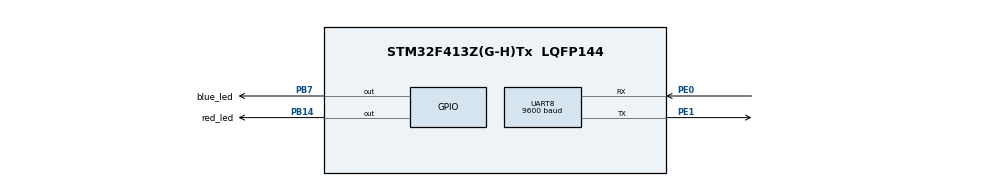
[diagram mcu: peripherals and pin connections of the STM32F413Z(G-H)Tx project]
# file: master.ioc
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Mcu.Family=STM32F4
Mcu.Name=STM32F413Z(G-H)Tx
Mcu.Package=LQFP144
NVIC.PriorityGroup=NVIC_PRIORITYGROUP_4
NVIC.UART8_IRQn=true\:0\:0\:false\:false\:true\:true\:true
PA13.Mode=Serial_Wire
PA13.Signal=SYS_JTMS-SWDIO
PA14.Mode=Serial_Wire
PA14.Signal=SYS_JTCK-SWCLK
PB14.GPIO_Label=red_led
PB14.Signal=GPIO_Output
PB7.GPIO_Label=blue_led
PB7.Signal=GPIO_Output
PC14-OSC32_IN.Mode=LSE-External-Oscillator
PC14-OSC32_IN.Signal=RCC_OSC32_IN
PC15-OSC32_OUT.Mode=LSE-External-Oscillator
PC15-OSC32_OUT.Signal=RCC_OSC32_OUT
PE0.Mode=Asynchronous
PE0.Signal=UART8_RX
PE1.Mode=Asynchronous
PE1.Signal=UART8_TX
ProjectManager.HeapSize=0x200
ProjectManager.StackSize=0x400
ProjectManager.TargetToolchain=STM32CubeIDE
RCC.CortexFreq_Value=16000000
RCC.USBFreq_Value=96000000
RCC.VCOOutputFreq_Value=192000000
UART8.BaudRate=9600
UART8.VirtualMode=Asynchronous
board=custom

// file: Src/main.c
/* USER CODE BEGIN Header */
/**
  ******************************************************************************
  * @file           : main.c
  * @brief          : Main program body
  ******************************************************************************
  * @attention
  *
  * <h2><center>&copy; Copyright (c) 2019 STMicroelectronics.
  * All rights reserved.</center></h2>
  *
  * This software component is licensed by ST under BSD 3-Clause license,
  * the "License"; You may not use this file except in compliance with the
  * License. You may obtain a copy of the License at:
  *                        opensource.org/licenses/BSD-3-Clause
  *
  ******************************************************************************
  */
/* USER CODE END Header */

#include "main.h"
#include "string.h"

UART_HandleTypeDef huart8;

void SystemClock_Config(void);
static void MX_GPIO_Init(void);
static void MX_UART8_Init(void);

/* USER CODE BEGIN 0 */
uint32_t ticker = 0;

typedef struct  __attribute__ ((packed)) data_packet_t{
    int board_type : 4;
    int board_num : 4;
    uint8_t board_add;
    uint8_t state;
} data_packet;

union data_in{
	data_packet info_in;
	char info_in_buffer[3];
};

data_packet info_out;
union data_in data;

void HAL_UART_RxCpltCallback(UART_HandleTypeDef *huart)
{
	if(huart->Instance==UART8) {
		info_out.board_add  =  data.info_in.board_add;
		info_out.state  = data.info_in.state;
		info_out.board_type = data.info_in.board_type;
		info_out.board_num = data.info_in.board_num;
		HAL_UART_Transmit(&huart8,&info_out,sizeof(info_out),1000);
		HAL_GPIO_TogglePin(GPIOB, red_led_Pin);
	}
	else{
		__NOP();
	}

}
/* USER CODE END 0 */

int main(void)
{

  /* MCU Configuration--------------------------------------------------------*/

  /* Reset of all peripherals, Initializes the Flash interface and the Systick. */
  HAL_Init();

  /* Configure the system clock */
  SystemClock_Config();

  /* Initialize all configured peripherals */
  MX_GPIO_Init();
  MX_UART8_Init();
  /* USER CODE BEGIN 2 */
  char buffer[3];

  /* USER CODE END 2 */

  /* Infinite loop */
  /* USER CODE BEGIN WHILE */
  while (1)
  {

	  HAL_UART_Receive_IT(&huart8, buffer, 3);
	  ticker++;
	  if (ticker % 100000 == 0) {
		  HAL_GPIO_TogglePin(GPIOB, GPIO_PIN_7);
	  }

	  if (ticker == 4294967295) {
		  ticker = 0;
	  }
    /* USER CODE END WHILE */

  }
}

void SystemClock_Config(void)
{
  RCC_OscInitTypeDef RCC_OscInitStruct = {0};
  RCC_ClkInitTypeDef RCC_ClkInitStruct = {0};

  /** Configure the main internal regulator output voltage
  */
  __HAL_RCC_PWR_CLK_ENABLE();
  __HAL_PWR_VOLTAGESCALING_CONFIG(PWR_REGULATOR_VOLTAGE_SCALE1);
  /** Initializes the CPU, AHB and APB busses clocks
  */
  RCC_OscInitStruct.OscillatorType = RCC_OSCILLATORTYPE_HSI;
  RCC_OscInitStruct.HSIState = RCC_HSI_ON;
  RCC_OscInitStruct.HSICalibrationValue = RCC_HSICALIBRATION_DEFAULT;
  RCC_OscInitStruct.PLL.PLLState = RCC_PLL_NONE;
  if (HAL_RCC_OscConfig(&RCC_OscInitStruct) != HAL_OK)
  {
    Error_Handler();
  }
  /** Initializes the CPU, AHB and APB busses clocks
  */
  RCC_ClkInitStruct.ClockType = RCC_CLOCKTYPE_HCLK|RCC_CLOCKTYPE_SYSCLK
                              |RCC_CLOCKTYPE_PCLK1|RCC_CLOCKTYPE_PCLK2;
  RCC_ClkInitStruct.SYSCLKSource = RCC_SYSCLKSOURCE_HSI;
  RCC_ClkInitStruct.AHBCLKDivider = RCC_SYSCLK_DIV1;
  RCC_ClkInitStruct.APB1CLKDivider = RCC_HCLK_DIV1;
  RCC_ClkInitStruct.APB2CLKDivider = RCC_HCLK_DIV1;

  if (HAL_RCC_ClockConfig(&RCC_ClkInitStruct, FLASH_LATENCY_0) != HAL_OK)
  {
    Error_Handler();
  }
}

static void MX_UART8_Init(void)
{

  huart8.Instance = UART8;
  huart8.Init.BaudRate = 9600;
  huart8.Init.WordLength = UART_WORDLENGTH_8B;
  huart8.Init.StopBits = UART_STOPBITS_1;
  huart8.Init.Parity = UART_PARITY_NONE;
  huart8.Init.Mode = UART_MODE_TX_RX;
  huart8.Init.HwFlowCtl = UART_HWCONTROL_NONE;
  huart8.Init.OverSampling = UART_OVERSAMPLING_16;
  if (HAL_UART_Init(&huart8) != HAL_OK)
  {
    Error_Handler();
  }

}

static void MX_GPIO_Init(void)
{
  GPIO_InitTypeDef GPIO_InitStruct = {0};

  /* GPIO Ports Clock Enable */
  __HAL_RCC_GPIOC_CLK_ENABLE();
  __HAL_RCC_GPIOB_CLK_ENABLE();
  __HAL_RCC_GPIOA_CLK_ENABLE();
  __HAL_RCC_GPIOE_CLK_ENABLE();

  /*Configure GPIO pin Output Level */
  HAL_GPIO_WritePin(GPIOB, red_led_Pin|blue_led_Pin, GPIO_PIN_RESET);

  /*Configure GPIO pins : red_led_Pin blue_led_Pin */
  GPIO_InitStruct.Pin = red_led_Pin|blue_led_Pin;
  GPIO_InitStruct.Mode = GPIO_MODE_OUTPUT_PP;
  GPIO_InitStruct.Pull = GPIO_NOPULL;
  GPIO_InitStruct.Speed = GPIO_SPEED_FREQ_LOW;
  HAL_GPIO_Init(GPIOB, &GPIO_InitStruct);

}

void Error_Handler(void)
{
}

/************************ (C) COPYRIGHT STMicroelectronics *****END OF FILE****/
